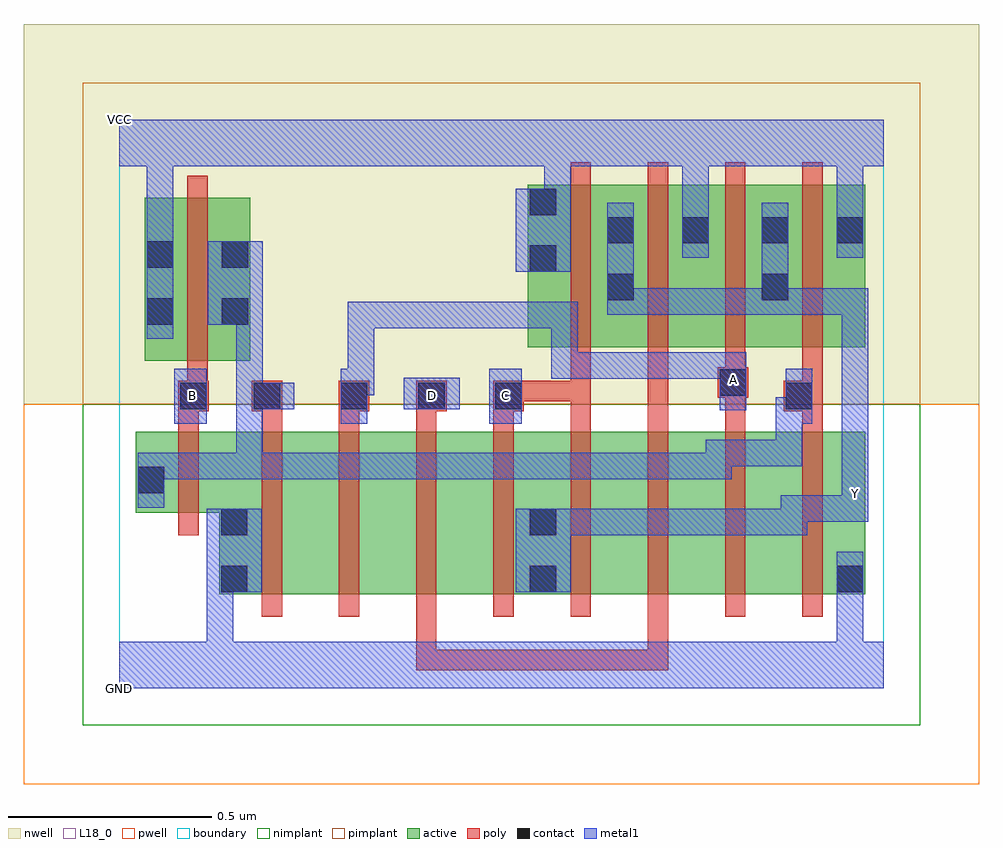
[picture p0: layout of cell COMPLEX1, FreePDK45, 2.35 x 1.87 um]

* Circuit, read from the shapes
.subckt COMPLEX1 A B C D GND VCC Y
M1 GND B n1 VSUBS nfet w=0.2u l=0.05u
M2 n2 n1 GND VSUBS nfet w=0.4u l=0.05u
M3 n3 A n2 VSUBS nfet w=0.4u l=0.05u
M4 n4 D n3 VSUBS nfet w=0.4u l=0.05u
M5 Y C n4 VSUBS nfet w=0.4u l=0.05u
M6 n5 C Y VSUBS nfet w=0.4u l=0.05u
M7 n6 D n5 VSUBS nfet w=0.4u l=0.05u
M8 n7 A n6 VSUBS nfet w=0.4u l=0.05u
M9 GND n1 n7 VSUBS nfet w=0.4u l=0.05u
M10 n1 B VCC n8 pfet w=0.4u l=0.05u
M11 Y C VCC n8 pfet w=0.4u l=0.05u
M12 VCC D Y n8 pfet w=0.4u l=0.05u
M13 Y A VCC n8 pfet w=0.4u l=0.05u
M14 VCC n1 Y n8 pfet w=0.4u l=0.05u
.ends

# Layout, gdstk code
import gdstk
lib = gdstk.Library(unit=1e-6, precision=1e-09)
def R(c, l, rs):  # rectangles x0, y0, x1, y1
    for r in rs: c.add(gdstk.rectangle(r[:2], r[2:], *l))
def A(c, l, x, y, w, h, nx, ny, dx, dy):  # array of equal rectangles
    R(c, l, [(x+i*dx, y+j*dy, x+i*dx+w, y+j*dy+h) for i in range(nx) for j in range(ny)])
active = (1, 0)
pwell = (2, 0)
nwell = (3, 0)
nimplant = (4, 0)
pimplant = (5, 0)
poly = (9, 0)
contact = (10, 0)
metal1 = (11, 0)
L18_0 = (18, 0)
boundary = (235, 0)

complex1 = lib.new_cell('COMPLEX1')
R(complex1, active, [(0.245,0.232,0.47,0.632), (0.245,0.232,0.32,0.447), (0.47,0.232,0.66,0.632), (0.66,0.232,0.85,0.632), (0.85,0.232,1.08,0.632), (1.005,0.232,1.23,0.632), (1.005,0.232,1.08,0.617), (1.23,0.232,1.42,0.632), (1.42,0.232,1.61,0.632), (1.61,0.232,1.835,0.632), (1.76,0.232,1.835,0.632), (0.04,0.432,0.32,0.632), (0.04,0.445,0.115,0.632), (0.062,0.807,0.137,1.207), (0.062,0.807,0.322,1.207), (0.247,0.807,0.322,1.2), (1.005,0.84,1.08,1.24), (1.005,0.84,1.27,1.24), (1.195,0.84,1.455,1.24), (1.38,0.84,1.65,1.24), (1.575,0.84,1.835,1.24), (1.76,0.84,1.835,1.165), (1.195,0.907,1.27,1.167), (1.38,0.907,1.455,1.167), (1.575,0.907,1.65,1.165)])
R(complex1, pwell, [(-0.235,-0.235,2.115,0.7)])
R(complex1, nwell, [(-0.235,0.7,2.115,1.635)])
R(complex1, nimplant, [(-0.09,-0.09,1.97,0.7)])
R(complex1, pimplant, [(-0.09,0.7,1.97,1.49)])
A(complex1, poly, 0.35, 0.177, 0.05, 0.51, 8, 1, 0.19, 0)
A(complex1, poly, 0.35, 0.637, 0.05, 0.095, 4, 1, 0.19, 0)
A(complex1, poly, 0.54, 0.682, 0.075, 0.075, 3, 1, 0.19, 0)
A(complex1, poly, 1.11, 0.785, 0.05, 0.51, 4, 1, 0.19, 0)
R(complex1, poly, [(0.73,0.045,0.78,0.095), (0.73,0.045,0.78,0.095), (0.73,0.045,0.78,0.095), (0.73,0.045,0.78,0.227), (0.73,0.045,0.912,0.095), (0.862,0.045,0.912,0.095), (0.862,0.045,1.217,0.095), (1.167,0.045,1.217,0.095), (1.167,0.045,1.217,0.095), (1.167,0.045,1.217,0.095), (1.167,0.045,1.35,0.095), (1.3,0.045,1.35,0.095), (1.3,0.045,1.35,0.095), (1.3,0.045,1.35,0.095), (1.3,0.045,1.35,0.227), (0.145,0.377,0.195,0.687), (0.145,0.637,0.195,0.732), (1.11,0.637,1.16,0.757), (1.3,0.637,1.35,0.732), (1.49,0.637,1.54,0.765), (1.68,0.637,1.73,0.732), (0.145,0.682,0.22,0.757), (0.325,0.682,0.4,0.757), (1.3,0.682,1.35,0.835), (1.3,0.682,1.35,0.732), (1.635,0.682,1.73,0.757), (0.167,0.707,0.217,0.802), (0.945,0.707,1.16,0.757), (1.11,0.707,1.16,0.835), (1.11,0.707,1.16,0.757), (1.11,0.707,1.16,0.757), (1.11,0.707,1.16,0.757), (1.68,0.707,1.73,0.835), (1.472,0.715,1.547,0.79), (1.49,0.74,1.54,0.835), (0.167,0.752,0.217,1.262)])
A(complex1, contact, 0.545, 0.687, 0.065, 0.065, 3, 1, 0.19, 0)
R(complex1, contact, [(0.25,0.237,0.315,0.302), (1.01,0.237,1.075,0.302), (1.765,0.237,1.83,0.302), (0.25,0.377,0.315,0.442), (1.01,0.377,1.075,0.442), (0.045,0.48,0.11,0.545), (0.15,0.687,0.215,0.752), (0.33,0.687,0.395,0.752), (1.64,0.687,1.705,0.752), (1.477,0.72,1.542,0.785), (0.067,0.895,0.132,0.96), (0.252,0.895,0.317,0.96), (1.2,0.955,1.265,1.02), (1.58,0.955,1.645,1.02), (1.01,1.025,1.075,1.09), (0.067,1.035,0.132,1.1), (0.252,1.035,0.317,1.1), (1.2,1.095,1.265,1.16), (1.385,1.095,1.45,1.16), (1.58,1.095,1.645,1.16), (1.765,1.095,1.83,1.16), (1.01,1.165,1.075,1.23)])
R(complex1, metal1, [(0,0,1.88,0.115), (0.215,0.05,0.28,0.115), (0.215,0.05,0.28,0.115), (0.215,0.05,0.28,0.302), (1.765,0.05,1.83,0.115), (1.765,0.05,1.83,0.115), (1.765,0.05,1.83,0.267), (1.765,0.202,1.83,0.337), (0.215,0.237,0.35,0.442), (0.975,0.237,1.11,0.442), (1.045,0.377,1.127,0.442), (1.062,0.377,1.127,0.442), (1.062,0.377,1.265,0.442), (1.2,0.377,1.265,0.442), (1.2,0.377,1.265,0.442), (1.2,0.377,1.265,0.442), (1.2,0.377,1.402,0.442), (1.337,0.377,1.402,0.442), (1.337,0.377,1.567,0.442), (1.502,0.377,1.567,0.442), (1.502,0.377,1.692,0.442), (1.627,0.377,1.692,0.475), (1.627,0.41,1.842,0.475), (1.777,0.41,1.842,0.475), (1.777,0.41,1.842,0.475), (1.777,0.41,1.842,0.475), (1.777,0.41,1.842,0.475), (1.777,0.41,1.842,0.475), (1.777,0.41,1.842,0.475), (1.777,0.41,1.842,0.547), (0.045,0.445,0.11,0.58), (1.777,0.482,1.842,0.985), (0.045,0.515,0.11,0.58), (0.045,0.515,0.11,0.58), (0.045,0.515,0.352,0.58), (0.287,0.515,0.352,0.58), (0.287,0.515,0.352,0.58), (0.287,0.515,0.352,0.58), (0.287,0.515,0.49,0.58), (0.287,0.515,0.352,0.752), (0.425,0.515,0.49,0.58), (0.425,0.515,0.627,0.58), (0.562,0.515,0.627,0.58), (0.562,0.515,0.627,0.58), (0.562,0.515,0.627,0.58), (0.562,0.515,0.765,0.58), (0.7,0.515,0.765,0.58), (0.7,0.515,0.902,0.58), (0.837,0.515,0.902,0.58), (0.837,0.515,0.902,0.58), (0.837,0.515,0.902,0.58), (0.837,0.515,1.127,0.58), (1.062,0.515,1.127,0.58), (1.062,0.515,1.127,0.58), (1.062,0.515,1.127,0.58), (1.062,0.515,1.265,0.58), (1.2,0.515,1.265,0.58), (1.2,0.515,1.265,0.58), (1.2,0.515,1.265,0.58), (1.2,0.515,1.507,0.58), (1.442,0.515,1.507,0.612), (1.442,0.547,1.507,0.612), (1.442,0.547,1.507,0.612), (1.442,0.547,1.68,0.612), (1.615,0.547,1.68,0.612), (1.615,0.547,1.68,0.717), (0.135,0.652,0.215,0.787), (0.545,0.652,0.61,0.787), (0.91,0.652,0.99,0.787), (1.615,0.652,1.68,0.717), (1.615,0.652,1.705,0.717), (1.64,0.652,1.705,0.787), (1.477,0.685,1.542,0.827), (0.287,0.687,0.352,0.752), (0.287,0.687,0.36,0.752), (0.287,0.687,0.352,0.96), (0.295,0.687,0.43,0.752), (0.7,0.687,0.837,0.765), (0.545,0.722,0.627,0.787), (0.562,0.722,0.627,0.787), (0.562,0.722,0.627,0.952), (1.062,0.762,1.127,0.827), (1.062,0.762,1.127,0.827), (1.062,0.762,1.127,0.827), (1.062,0.762,1.265,0.827), (1.062,0.762,1.127,0.952), (1.2,0.762,1.265,0.827), (1.2,0.762,1.265,0.827), (1.2,0.762,1.265,0.827), (1.2,0.762,1.402,0.827), (1.337,0.762,1.402,0.827), (1.337,0.762,1.542,0.827), (0.067,0.86,0.132,1.135), (0.562,0.887,0.627,0.952), (0.562,0.887,0.765,0.952), (0.7,0.887,0.765,0.952), (0.7,0.887,0.902,0.952), (0.837,0.887,0.902,0.952), (0.837,0.887,0.902,0.952), (0.837,0.887,0.902,0.952), (0.837,0.887,1.127,0.952), (1.062,0.887,1.127,0.952), (0.217,0.895,0.352,1.1), (1.2,0.92,1.265,0.985), (1.2,0.92,1.265,0.985), (1.2,0.92,1.265,1.195), (1.2,0.92,1.507,0.985), (1.442,0.92,1.507,0.985), (1.442,0.92,1.507,0.985), (1.442,0.92,1.507,0.985), (1.442,0.92,1.645,0.985), (1.58,0.92,1.842,0.985), (1.58,0.92,1.645,1.195), (1.777,0.92,1.842,0.985), (1.777,0.92,1.842,0.985), (1.777,0.92,1.842,0.985), (0.975,1.025,1.11,1.23), (1.385,1.06,1.45,1.195), (1.765,1.06,1.83,1.195), (0.067,1.07,0.132,1.35), (1.385,1.13,1.45,1.35), (1.765,1.13,1.83,1.35), (1.045,1.165,1.11,1.35), (0,1.285,1.88,1.4)])
R(complex1, L18_0, [(0,0,1.88,0.115), (0.215,0.05,0.28,0.115), (0.215,0.05,0.28,0.115), (0.215,0.05,0.28,0.302), (1.765,0.05,1.83,0.115), (1.765,0.05,1.83,0.115), (1.765,0.05,1.83,0.267), (1.765,0.202,1.83,0.337), (0.215,0.237,0.35,0.442), (0.975,0.237,1.11,0.442), (1.045,0.377,1.127,0.442), (1.062,0.377,1.127,0.442), (1.062,0.377,1.265,0.442), (1.2,0.377,1.265,0.442), (1.2,0.377,1.265,0.442), (1.2,0.377,1.265,0.442), (1.2,0.377,1.402,0.442), (1.337,0.377,1.402,0.442), (1.337,0.377,1.567,0.442), (1.502,0.377,1.567,0.442), (1.502,0.377,1.692,0.442), (1.627,0.377,1.692,0.475), (1.627,0.41,1.842,0.475), (1.777,0.41,1.842,0.475), (1.777,0.41,1.842,0.475), (1.777,0.41,1.842,0.475), (1.777,0.41,1.842,0.475), (1.777,0.41,1.842,0.475), (1.777,0.41,1.842,0.475), (1.777,0.41,1.842,0.547), (1.777,0.447,1.842,0.512), (1.777,0.482,1.842,0.985), (0.135,0.652,0.215,0.787), (0.545,0.652,0.61,0.787), (0.91,0.652,0.99,0.787), (1.477,0.685,1.542,0.827), (0.147,0.687,0.212,0.752), (0.7,0.687,0.837,0.765), (0.737,0.687,0.802,0.752), (0.917,0.687,0.982,0.752), (0.545,0.722,0.627,0.787), (0.562,0.722,0.627,0.787), (0.562,0.722,0.627,0.952), (1.477,0.727,1.542,0.792), (1.062,0.762,1.127,0.827), (1.062,0.762,1.127,0.827), (1.062,0.762,1.127,0.827), (1.062,0.762,1.265,0.827), (1.062,0.762,1.127,0.952), (1.2,0.762,1.265,0.827), (1.2,0.762,1.265,0.827), (1.2,0.762,1.265,0.827), (1.2,0.762,1.402,0.827), (1.337,0.762,1.402,0.827), (1.337,0.762,1.542,0.827), (0.067,0.86,0.132,1.135), (0.562,0.887,0.627,0.952), (0.562,0.887,0.765,0.952), (0.7,0.887,0.765,0.952), (0.7,0.887,0.902,0.952), (0.837,0.887,0.902,0.952), (0.837,0.887,0.902,0.952), (0.837,0.887,0.902,0.952), (0.837,0.887,1.127,0.952), (1.062,0.887,1.127,0.952), (1.2,0.92,1.265,1.195), (1.2,0.92,1.265,0.985), (1.2,0.92,1.265,0.985), (1.2,0.92,1.507,0.985), (1.442,0.92,1.507,0.985), (1.442,0.92,1.507,0.985), (1.442,0.92,1.507,0.985), (1.442,0.92,1.645,0.985), (1.58,0.92,1.645,1.195), (1.58,0.92,1.842,0.985), (1.777,0.92,1.842,0.985), (1.777,0.92,1.842,0.985), (1.777,0.92,1.842,0.985), (0.975,1.025,1.11,1.23), (1.385,1.06,1.45,1.195), (1.765,1.06,1.83,1.195), (0.067,1.07,0.132,1.35), (1.385,1.13,1.45,1.35), (1.765,1.13,1.83,1.35), (1.045,1.165,1.11,1.35), (0,1.285,1.88,1.4)])
R(complex1, boundary, [(0,0,1.88,1.4)])
complex1.add(gdstk.Label('A', (1.51,0.76), layer=11, texttype=0))
complex1.add(gdstk.Label('B', (0.18,0.72), layer=11, texttype=0))
complex1.add(gdstk.Label('C', (0.95,0.72), layer=11, texttype=0))
complex1.add(gdstk.Label('D', (0.77,0.72), layer=11, texttype=0))
complex1.add(gdstk.Label('Y', (1.81,0.48), layer=11, texttype=0))
complex1.add(gdstk.Label('VCC', (0,1.4), layer=11, texttype=0))
complex1.add(gdstk.Label('GND', (0,0), layer=11, texttype=0))

lib.write_gds('COMPLEX1.gds')
